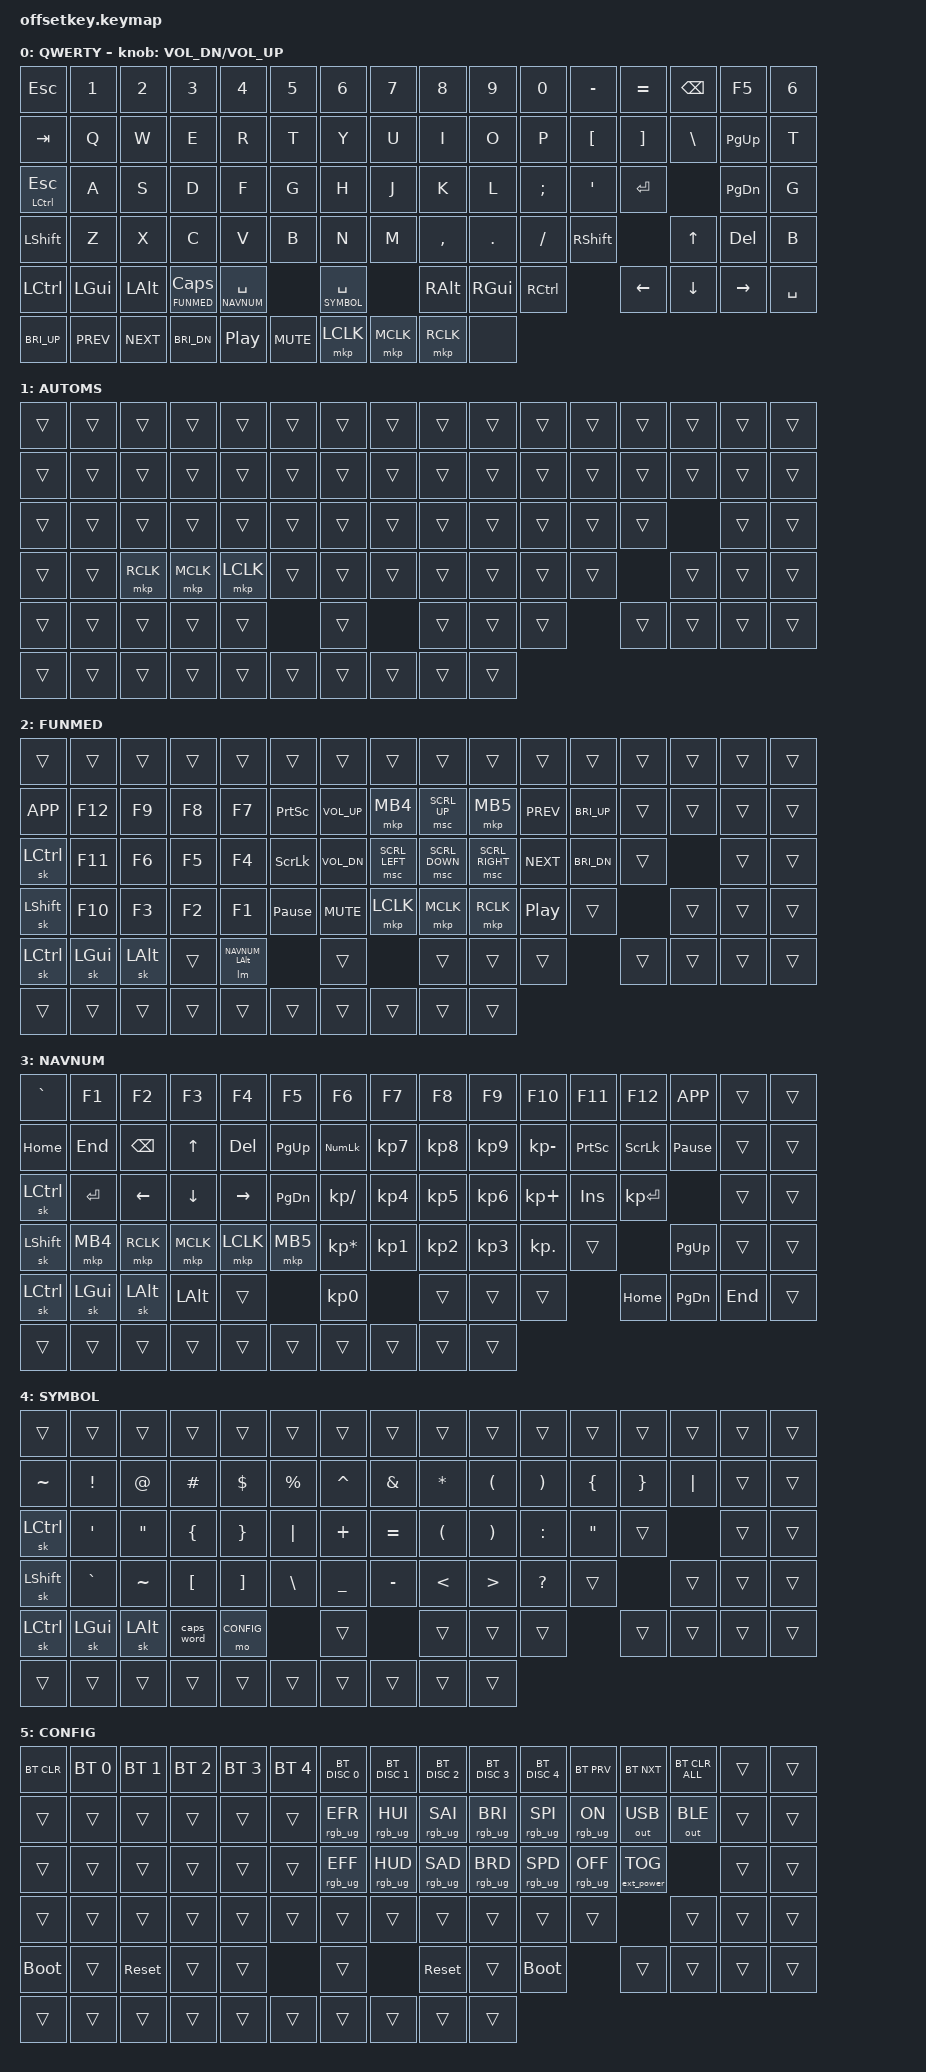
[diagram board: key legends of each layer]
#include <zephyr/dt-bindings/input/input-event-codes.h>
#include <behaviors/toggle_io.dtsi>
#include <behaviors/on_io.dtsi>
#include <behaviors/off_io.dtsi>
#include <behaviors.dtsi>
#include <dt-bindings/zmk/bt.h>
#include <dt-bindings/zmk/keys.h>
#include <dt-bindings/zmk/pointing.h>
#include <dt-bindings/zmk/rgb.h>
#include <dt-bindings/zmk/outputs.h>
#include <dt-bindings/zmk/ext_power.h>
#include <dt-bindings/zmk/mouse.h>

#define QWERTY 0
#define AUTOMS 1
#define FUNMED 2
#define NAVNUM 3
#define SYMBOL 4
#define CONFIG 5

// #define ZMK_POINTING_DEFAULT_MOVE_VAL 1500
// #define ZMK_POINTING_DEFAULT_SCRL_VAL 320

&mt { quick-tap-ms = <200>; };
&lt { quick-tap-ms = <200>; flavor = "hold-preferred"; };
&sk { release-after-ms = <2000>; quick-release; };

/ {
    macros {
    lm:  lm  { compatible = "zmk,behavior-macro-two-param"; #binding-cells = <2>; wait-ms = <0>; tap-ms = <0>; bindings = <&macro_param_1to1>, <&macro_press &mo MACRO_PLACEHOLDER>, <&macro_param_2to1>,
               <&macro_press &kp MACRO_PLACEHOLDER>, <&macro_pause_for_release>, <&macro_param_2to1>, <&macro_release &kp MACRO_PLACEHOLDER>, <&macro_param_1to1>, <&macro_release &mo MACRO_PLACEHOLDER>; };
    };
    behaviors {
    };
    keymap { compatible = "zmk,keymap";
        QWERTY { label = "QWERTY"; sensor-bindings = <&inc_dec_kp C_VOL_DN C_VOL_UP>; bindings = <
&kp ESC         &kp N1          &kp N2          &kp N3          &kp N4          &kp N5          &kp N6          &kp N7          &kp N8          &kp N9          &kp N0          &kp MINUS       &kp EQUAL       &kp BSPC        &kp F5          &kp N6
&kp TAB         &kp Q           &kp W           &kp E           &kp R           &kp T           &kp Y           &kp U           &kp I           &kp O           &kp P           &kp LBKT        &kp RBKT        &kp BSLH        &kp PG_UP       &kp T
&mt LCTRL ESC   &kp A           &kp S           &kp D           &kp F           &kp G           &kp H           &kp J           &kp K           &kp L           &kp SEMI        &kp SQT         &kp ENTER                       &kp PG_DN       &kp G
&kp LSHFT       &kp Z           &kp X           &kp C           &kp V           &kp B           &kp N           &kp M           &kp COMMA       &kp DOT         &kp FSLH        &kp RSHFT                       &kp UP          &kp DEL         &kp B
&kp LCTRL       &kp LGUI        &kp LALT        &lt FUNMED CAPS &lt NAVNUM SPACE                &lt SYMBOL SPACE                &kp RALT        &kp RGUI        &kp RCTRL                       &kp LEFT        &kp DOWN        &kp RIGHT       &kp SPACE
&kp C_BRI_UP    &kp C_PREV      &kp C_NEXT      &kp C_BRI_DN    &kp C_PP        &kp C_MUTE      &mkp LCLK       &mkp MCLK       &mkp RCLK       &none
        >; };
        AUTOMS { label = "AUTOMS"; bindings = <
&trans          &trans          &trans          &trans          &trans          &trans          &trans          &trans          &trans          &trans          &trans          &trans          &trans          &trans          &trans          &trans
&trans          &trans          &trans          &trans          &trans          &trans          &trans          &trans          &trans          &trans          &trans          &trans          &trans          &trans          &trans          &trans
&trans          &trans          &trans          &trans          &trans          &trans          &trans          &trans          &trans          &trans          &trans          &trans          &trans                          &trans          &trans
&trans          &trans          &mkp RCLK       &mkp MCLK       &mkp LCLK       &trans          &trans          &trans          &trans          &trans          &trans          &trans                          &trans          &trans          &trans
&trans          &trans          &trans          &trans          &trans                          &trans                          &trans          &trans          &trans                          &trans          &trans          &trans          &trans
&trans          &trans          &trans          &trans          &trans          &trans          &trans          &trans          &trans          &trans
        >;       };
        FUNMED { label = "FUNMED"; bindings = <
&trans          &trans          &trans          &trans          &trans          &trans          &trans          &trans          &trans          &trans          &trans          &trans          &trans          &trans          &trans          &trans
&kp K_APP       &kp F12         &kp F9          &kp F8          &kp F7          &kp PSCRN       &kp C_VOL_UP    &mkp MB4        &msc SCRL_UP    &mkp MB5        &kp C_PREV      &kp C_BRI_UP    &trans          &trans          &trans          &trans
&sk LCTRL       &kp F11         &kp F6          &kp F5          &kp F4          &kp SLCK        &kp C_VOL_DN    &msc SCRL_LEFT  &msc SCRL_DOWN  &msc SCRL_RIGHT &kp C_NEXT      &kp C_BRI_DN    &trans                          &trans          &trans
&sk LSHFT       &kp F10         &kp F3          &kp F2          &kp F1          &kp PAUSE_BREAK &kp C_MUTE      &mkp LCLK       &mkp MCLK       &mkp RCLK       &kp C_PP        &trans                          &trans          &trans          &trans
&sk LCTRL       &sk LGUI        &sk LALT        &trans          &lm NAVNUM LALT                 &trans                          &trans          &trans          &trans                          &trans          &trans          &trans          &trans
&trans          &trans          &trans          &trans          &trans          &trans          &trans          &trans          &trans          &trans
        >; };
        NAVNUM { label = "NAVNUM"; bindings = <
&kp GRAVE       &kp F1          &kp F2          &kp F3          &kp F4          &kp F5          &kp F6          &kp F7          &kp F8          &kp F9          &kp F10         &kp F11         &kp F12         &kp K_APP       &trans          &trans
&kp HOME        &kp END         &kp BSPC        &kp UP          &kp DEL         &kp PG_UP       &kp KP_NLCK     &kp KP_N7       &kp KP_N8       &kp KP_N9       &kp KP_MINUS    &kp PSCRN       &kp SLCK        &kp PAUSE_BREAK &trans          &trans
&sk LCTRL       &kp ENTER       &kp LEFT        &kp DOWN        &kp RIGHT       &kp PG_DN       &kp KP_DIVIDE   &kp KP_N4       &kp KP_N5       &kp KP_N6       &kp KP_PLUS     &kp INS         &kp KP_ENTER                    &trans          &trans
&sk LSHFT       &mkp MB4        &mkp RCLK       &mkp MCLK       &mkp LCLK       &mkp MB5        &kp KP_MULTIPLY &kp KP_N1       &kp KP_N2       &kp KP_N3       &kp KP_DOT      &trans                          &kp PG_UP       &trans          &trans
&sk LCTRL       &sk LGUI        &sk LALT        &kp LALT        &trans                          &kp KP_N0                       &trans          &trans          &trans                          &kp HOME        &kp PG_DN       &kp END         &trans
&trans          &trans          &trans          &trans          &trans          &trans          &trans          &trans          &trans          &trans
        >; };
        SYMBOL { label =  "SYMBOL"; bindings = <
&trans          &trans          &trans          &trans          &trans          &trans          &trans          &trans          &trans          &trans          &trans          &trans          &trans          &trans          &trans          &trans
&kp TILDE       &kp EXCL        &kp AT          &kp POUND       &kp DLLR        &kp PRCNT       &kp CARET       &kp AMPS        &kp STAR        &kp LPAR        &kp RPAR        &kp LBRC        &kp RBRC        &kp PIPE        &trans          &trans
&sk LCTRL       &kp SQT         &kp DQT         &kp LBRC        &kp RBRC        &kp PIPE        &kp PLUS        &kp EQUAL       &kp LPAR        &kp RPAR        &kp COLON       &kp DQT         &trans                          &trans          &trans
&sk LSHFT       &kp GRAVE       &kp TILDE       &kp LBKT        &kp RBKT        &kp BSLH        &kp UNDER       &kp MINUS       &kp LT          &kp GT          &kp QMARK       &trans                          &trans          &trans          &trans
&sk LCTRL       &sk LGUI        &sk LALT        &caps_word      &mo CONFIG                      &trans                          &trans          &trans          &trans                          &trans          &trans          &trans          &trans
&trans          &trans          &trans          &trans          &trans          &trans          &trans          &trans          &trans          &trans
        >; };
        CONFIG { label = "CONFIG"; bindings = <
&bt BT_CLR      &bt BT_SEL 0    &bt BT_SEL 1    &bt BT_SEL 2    &bt BT_SEL 3    &bt BT_SEL 4    &bt BT_DISC 0   &bt BT_DISC 1   &bt BT_DISC 2   &bt BT_DISC 3   &bt BT_DISC 4   &bt BT_PRV      &bt BT_NXT      &bt BT_CLR_ALL  &trans          &trans
&trans          &trans          &trans          &trans          &trans          &trans          &rgb_ug RGB_EFR &rgb_ug RGB_HUI &rgb_ug RGB_SAI &rgb_ug RGB_BRI &rgb_ug RGB_SPI &rgb_ug RGB_ON  &out OUT_USB    &out OUT_BLE    &trans          &trans
&trans          &trans          &trans          &trans          &trans          &trans          &rgb_ug RGB_EFF &rgb_ug RGB_HUD &rgb_ug RGB_SAD &rgb_ug RGB_BRD &rgb_ug RGB_SPD &rgb_ug RGB_OFF &ext_power EP_TOG               &trans          &trans
&trans          &trans          &trans          &trans          &trans          &trans          &trans          &trans          &trans          &trans          &trans          &trans                          &trans          &trans          &trans
&bootloader     &trans          &sys_reset      &trans          &trans                          &trans                          &sys_reset      &trans          &bootloader                     &trans          &trans          &trans          &trans
&trans          &trans          &trans          &trans          &trans          &trans          &trans          &trans          &trans          &trans
        >; };
    };
};
